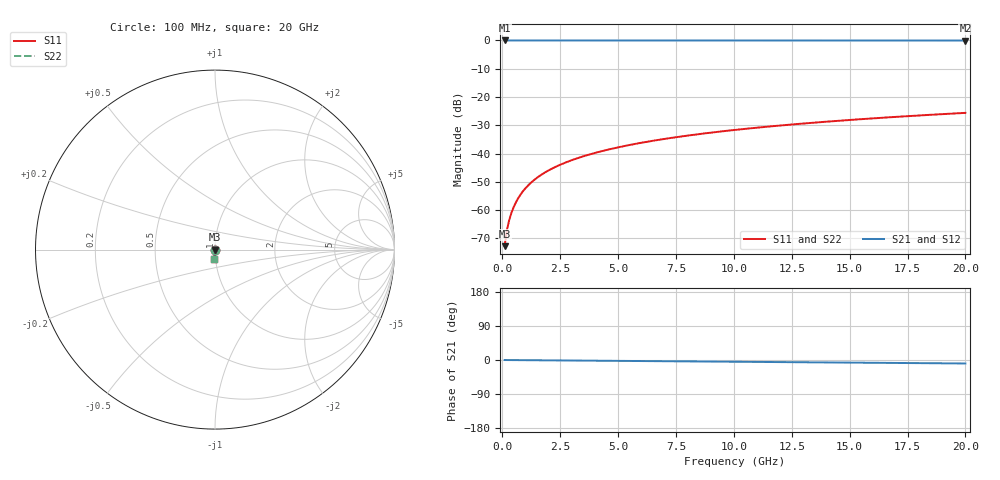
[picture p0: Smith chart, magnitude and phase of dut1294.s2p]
! Touchstone file exported from HFSS 2026.1.0
!  File:  C:/ffzhzh/LocalFiles/Ansys_Project_Files/temp_train_TSV_1294_1783194610_51560.aedt
!  Generated:  03:51:32 AM Jul  5, 2026
!  Design:  TSV
!  Project:  temp_train_TSV_1294_1783194610_51560
! Variables:
!  h_bsmrdl = 2um
!  h_ox = 20um
!  h_rdl = 5um
!  h_sub = 90.36um
!  h_tmrdl = 5um
!  h_tsv = 90.36um
!  h_via = 3um
!  l_bsmrdl = 300um
!  l_sub = 428.9um
!  l_tmrdl = 200um
!  m_sub = 200um
!  pitch = 43.15um
!  r_tsv = 14.45um
!  s_tmrdl = 10um
!  w_bsmrdl = 18um
!  w_sub = 500um
!  w_tmrdl = 12um
!  x_tsv_center1 = 206um
!  x_tsv_center2 = 524um
!  x_tsv_center3 = 736um
!  x_tsv_center4 = 1054um
!  x_tsv_center5 = 1266um
!  x_tsv_center6 = 1584um
# GHz S MA R 50.000000
! Terminal data exported
! Port[1] = TSV1_1_T1
! Port[2] = TSV1_1_T2
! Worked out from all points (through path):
!   200 points, 100 MHz to 20 GHz, reference 50 ohm
!   highest |S21| = 0.00 dB at 100 MHz (marker M1); lowest = 0.0 dB at 20 GHz (marker M2)
!   group delay of S21, straight-line fit = 1.27 ps
!   lowest |S11| = -72.8 dB at 100 MHz (marker M3), VSWR 1.00, Z = 50 - j0.0212 ohm
!   |S11| at or under -10 dB: start of sweep to end of sweep
!   |S22| runs from -72.8 to -25.6 dB; largest |S21 - S12| = 3.1e-15
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0.1  0.0002294 -67.8  0.9999 -0.0  0.9999 -0.0  0.0002294 -67.8
! Gamma 0 0 0 0
! Port Impedance 50 0 50 0
0.2  0.0004422 -76.5  0.9999 -0.1  0.9999 -0.1  0.0004422 -76.5
0.3  0.000668 -79.0  0.9999 -0.1  0.9999 -0.1  0.000668 -79.0
0.4  0.000904 -80.2  0.9998 -0.2  0.9998 -0.2  0.000904 -80.2
0.5  0.001148 -80.9  0.9998 -0.2  0.9998 -0.2  0.001148 -80.9
0.7  0.001652 -82.1  0.9998 -0.3  0.9998 -0.3  0.001652 -82.1
0.8  0.001909 -82.6  0.9997 -0.4  0.9997 -0.4  0.001909 -82.6
1  0.002427 -83.5  0.9997 -0.5  0.9997 -0.5  0.002427 -83.5
1.2  0.002947 -84.3  0.9997 -0.6  0.9997 -0.6  0.002947 -84.3
1.4  0.003467 -85.0  0.9996 -0.7  0.9996 -0.7  0.003467 -85.0
1.7  0.004247 -85.8  0.9996 -0.8  0.9996 -0.8  0.004247 -85.8
2  0.005026 -86.4  0.9996 -0.9  0.9996 -0.9  0.005026 -86.4
2.7  0.006843 -87.5  0.9995 -1.3  0.9995 -1.3  0.006843 -87.5
3.5  0.008924 -88.4  0.9995 -1.6  0.9995 -1.6  0.008924 -88.4
4.2  0.01075 -89.0  0.9994 -1.9  0.9994 -1.9  0.01075 -89.0
5  0.01284 -89.6  0.9993 -2.3  0.9993 -2.3  0.01284 -89.6
6.8  0.01757 -90.8  0.9991 -3.1  0.9991 -3.1  0.01757 -90.8
8.3  0.02152 -91.7  0.999 -3.8  0.999 -3.8  0.02152 -91.7
10.1  0.02627 -92.8  0.9988 -4.6  0.9988 -4.6  0.02627 -92.8
13.4  0.03497 -94.5  0.9984 -6.2  0.9984 -6.2  0.03497 -94.5
16.7  0.04366 -96.2  0.9979 -7.7  0.9979 -7.7  0.04366 -96.2
20  0.05235 -97.8  0.9974 -9.2  0.9974 -9.2  0.05235 -97.8
